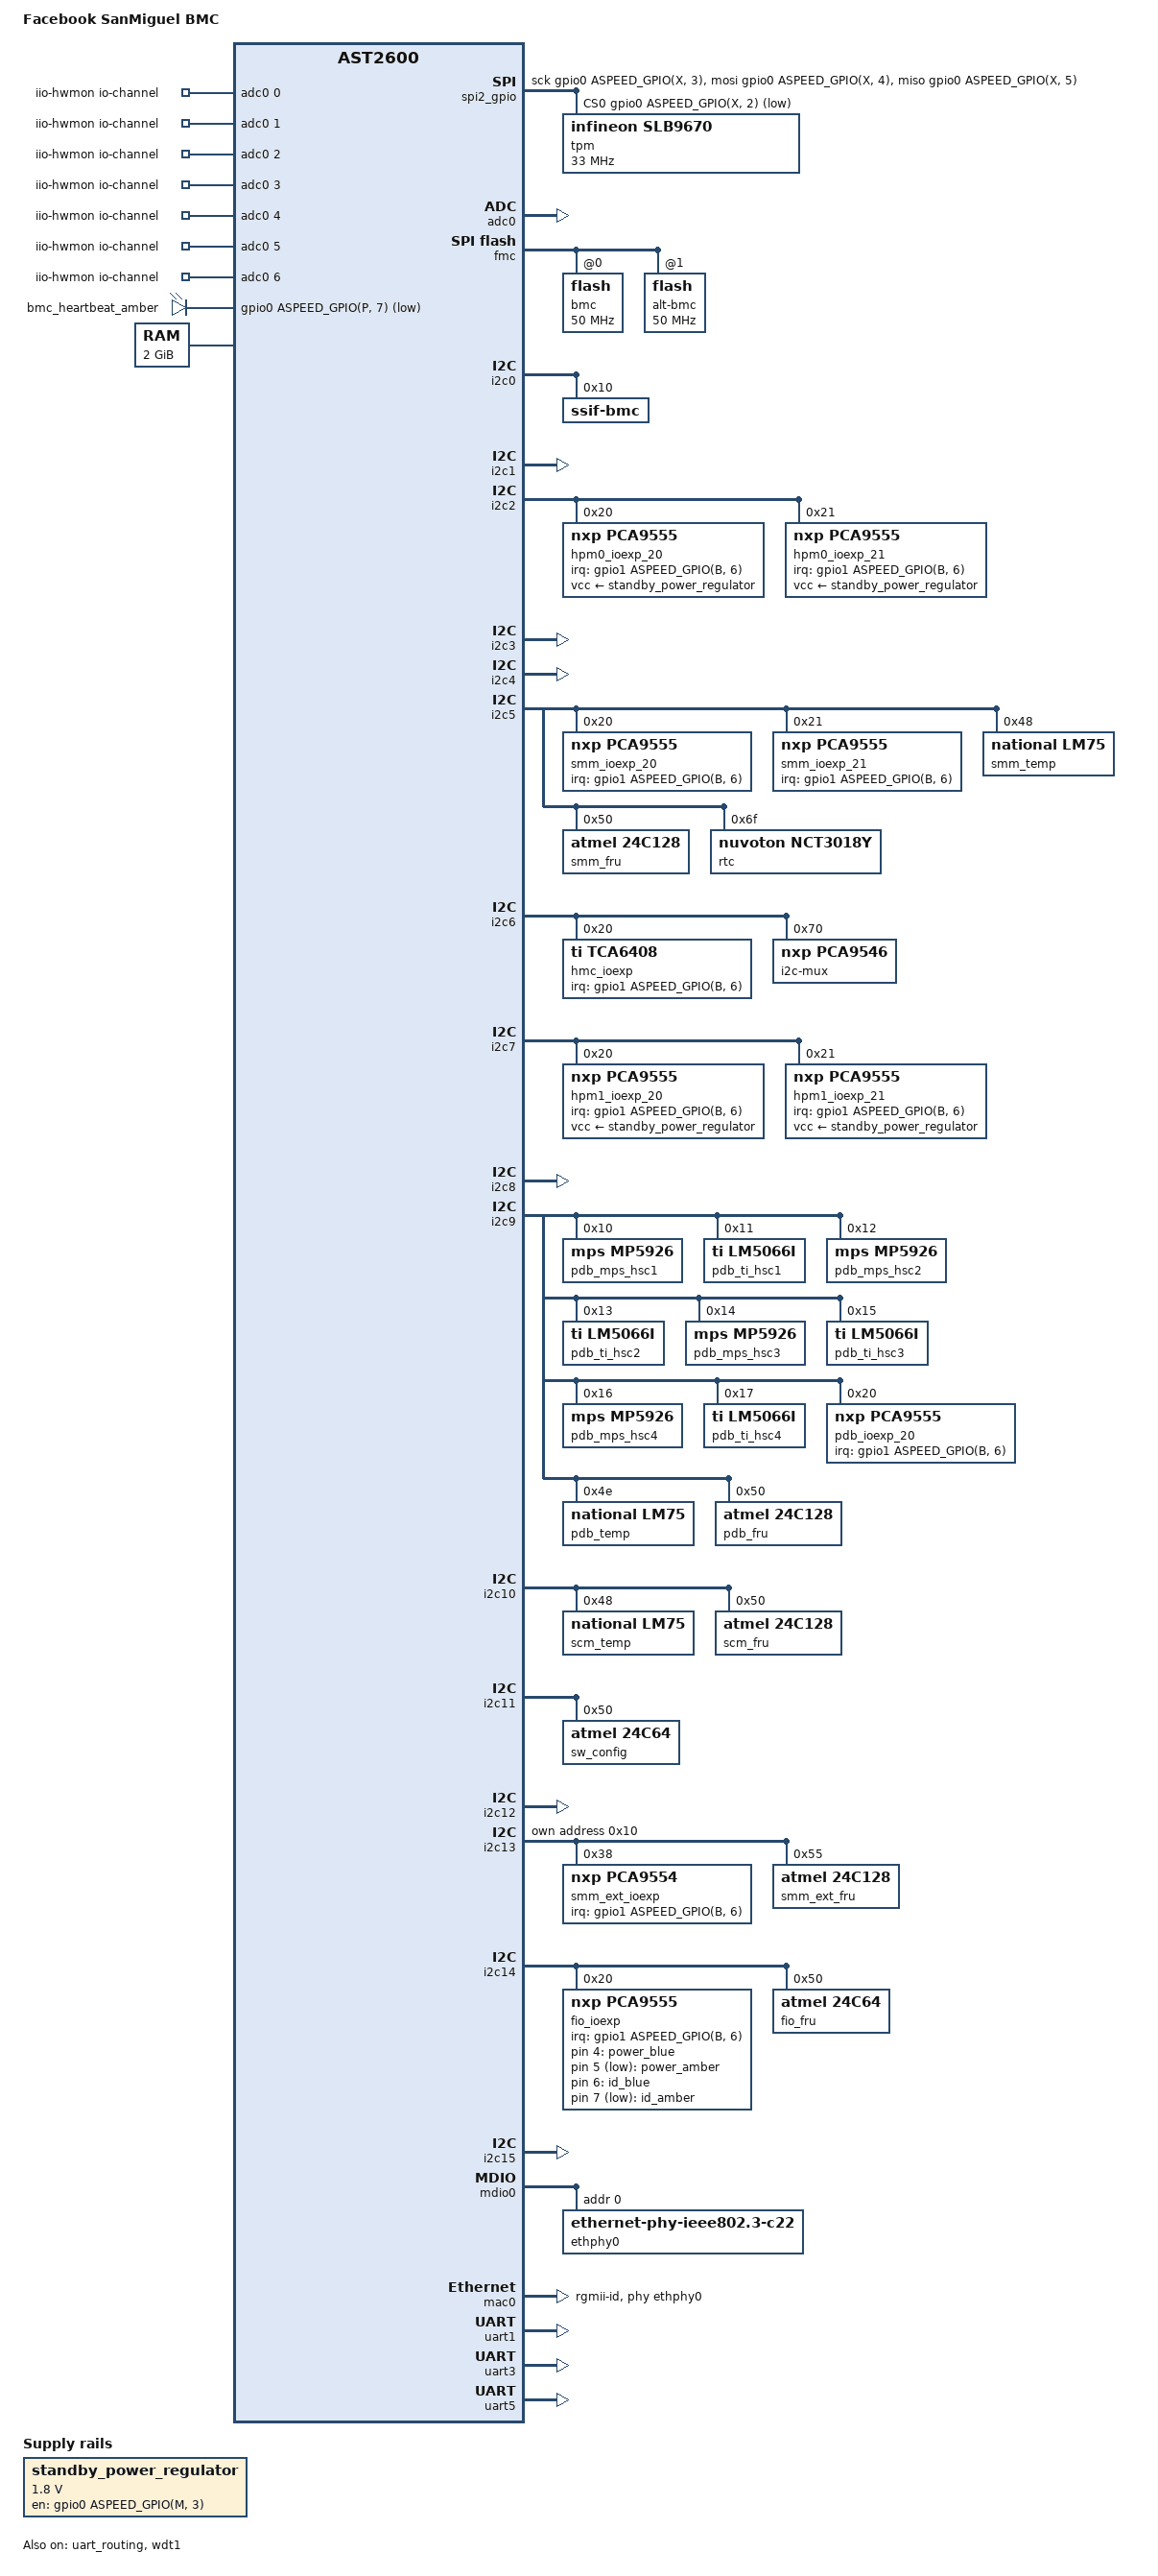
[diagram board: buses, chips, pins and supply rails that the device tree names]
// SPDX-License-Identifier: GPL-2.0+
// Copyright (c) 2025 Facebook Inc.

/dts-v1/;
#include "aspeed-g6.dtsi"
#include <dt-bindings/gpio/aspeed-gpio.h>
#include <dt-bindings/i2c/i2c.h>
#include <dt-bindings/interrupt-controller/irq.h>
#include <dt-bindings/leds/common.h>
#include <dt-bindings/leds/leds-pca955x.h>
#include <dt-bindings/usb/pd.h>

/ {
	model = "Facebook SanMiguel BMC";
	compatible = "facebook,sanmiguel-bmc", "aspeed,ast2600";

	aliases {
		serial0 = &uart1;
		serial1 = &uart2;
		serial2 = &uart3;
		serial3 = &uart4;
		serial4 = &uart5;
		i2c16	= &imux16;
		i2c17	= &imux17;
		i2c18	= &imux18;
		i2c19	= &imux19;
	};

	chosen {
		stdout-path = "serial4:57600n8";
	};

	iio-hwmon {
		compatible = "iio-hwmon";
		io-channels = <&adc0 0>, <&adc0 1>, <&adc0 2>, <&adc0 3>,
			      <&adc0 4>, <&adc0 5>, <&adc0 6>;
	};

	leds-fio {
		compatible = "gpio-leds";
		led-0 {
			label = "power_blue";
			gpios = <&fio_ioexp 4 GPIO_ACTIVE_HIGH>;
		};
		led-1 {
			label = "power_amber";
			gpios = <&fio_ioexp 5 GPIO_ACTIVE_LOW>;
		};
		led-2 {
			label = "id_blue";
			gpios = <&fio_ioexp 6 GPIO_ACTIVE_HIGH>;
		};
		led-3 {
			label = "id_amber";
			gpios = <&fio_ioexp 7 GPIO_ACTIVE_LOW>;
		};
	};

	leds-smm {
		compatible = "gpio-leds";
		led-0 {
			label = "bmc_heartbeat_amber";
			gpios = <&gpio0 ASPEED_GPIO(P, 7) GPIO_ACTIVE_LOW>;
			linux,default-trigger = "heartbeat";
		};
	};

	memory@80000000 {
		device_type = "memory";
		reg = <0x80000000 0x80000000>;
	};

	spi2_gpio: spi {
		compatible = "spi-gpio";
		#address-cells = <1>;
		#size-cells = <0>;

		sck-gpios = <&gpio0 ASPEED_GPIO(X, 3) GPIO_ACTIVE_HIGH>;
		mosi-gpios = <&gpio0 ASPEED_GPIO(X, 4) GPIO_ACTIVE_HIGH>;
		miso-gpios = <&gpio0 ASPEED_GPIO(X, 5) GPIO_ACTIVE_HIGH>;
		cs-gpios = <&gpio0 ASPEED_GPIO(X, 2) GPIO_ACTIVE_LOW>;
		num-chipselects = <1>;

		tpm@0 {
			compatible = "infineon,slb9670", "tcg,tpm_tis-spi";
			spi-max-frequency = <33000000>;
			reg = <0>;
		};
	};

	standby_power_regulator: standby-power-regulator {
		compatible = "regulator-fixed";
		gpio = <&gpio0 ASPEED_GPIO(M, 3) GPIO_ACTIVE_HIGH>;
		regulator-min-microvolt = <1800000>;
		regulator-max-microvolt = <1800000>;
		regulator-name = "standby_power";
		enable-active-high;
		regulator-always-on;
		regulator-boot-on;

		status = "okay";
	};
};

&adc0 {
	pinctrl-names = "default";
	pinctrl-0 = <&pinctrl_adc0_default &pinctrl_adc1_default
		&pinctrl_adc2_default &pinctrl_adc3_default
		&pinctrl_adc4_default &pinctrl_adc5_default
		&pinctrl_adc6_default>;
	aspeed,int-vref-microvolt = <2500000>;

	status = "okay";
};

&fmc {
	status = "okay";

	flash@0 {
		label = "bmc";
		spi-max-frequency = <50000000>;
		m25p,fast-read;

		status = "okay";
#include "openbmc-flash-layout-128.dtsi"
	};

	flash@1 {
		label = "alt-bmc";
		spi-max-frequency = <50000000>;
		m25p,fast-read;

		status = "okay";
#include "openbmc-flash-layout-128-alt.dtsi"
	};
};

&gpio0 {
	pinctrl-names = "default";
	pinctrl-0 = <&pinctrl_gpiom4_unbiased_default
		     &pinctrl_gpiom5_unbiased_default
		     &pinctrl_gpiov4_unbiased_default
		     &pinctrl_gpiov7_unbiased_default>;

	gpio-line-names =
	/*A0-A7*/	"", "", "", "", "", "", "", "",
	/*B0-B7*/	"", "", "", "", "", "", "", "",
	/*C0-C7*/	"", "", "", "", "", "", "", "",
	/*D0-D7*/	"", "", "", "", "", "FPGA_PEX_RST_L", "", "",
	/*E0-E7*/	"RTL8221_PHY_RST_L-O", "RTL8211_PHY_INT_L-I", "", "",
			"", "", "", "MUX_SGPIO_SEL-O",
	/*F0-F7*/	"", "", "", "", "", "", "", "",
	/*G0-G7*/	"", "", "", "", "", "", "", "",
	/*H0-H7*/	"", "", "", "", "", "", "", "",
	/*I0-I7*/	"", "", "", "",
			"", "QSPI2_RST_L-O",
			"GLOBAL_WP_BMC-I", "BMC_DDR4_TEN-O",
	/*J0-J7*/	"", "", "", "", "", "", "", "",
	/*K0-K7*/	"", "", "", "", "", "", "", "",
	/*L0-L7*/	"", "", "", "", "", "", "", "",
	/*M0-M7*/	"USB_HUB_RST_N-O", "BMC_FRU_WP-O",
			"", "HMC_STBY_POWER_EN-O",
			"STBY_POWER_PG-I", "PCIE_EP_RST_L-O", "", "",
	/*N0-N7*/	"", "", "", "", "", "", "", "",
	/*O0-O7*/	"", "", "", "", "", "", "", "",
	/*P0-P7*/	"", "", "", "", "", "", "", "",
	/*Q0-Q7*/	"", "", "", "", "", "", "", "",
	/*R0-R7*/	"", "SP0_AP_INTR_N-I", "", "", "", "", "", "",
	/*S0-S7*/	"", "", "", "", "", "", "", "",
	/*T0-T7*/	"", "", "", "", "", "", "", "",
	/*U0-U7*/	"", "", "", "", "", "", "", "",
	/*V0-V7*/	"", "", "", "", "PCB_TEMP_ALERT-I", "",	"", "",
	/*W0-W7*/	"", "", "", "", "", "", "", "CPU_RST_L-I",
	/*X0-X7*/	"", "", "", "", "", "", "", "",
	/*Y0-Y7*/	"", "", "", "EMMC_RST-O", "", "", "", "",
	/*Z0-Z7*/	"HMC_EROT_SPI_INT_L-I", "", "", "", "", "", "", "";
};

&gpio1 {
	/* 36 1.8V GPIOs */
	gpio-line-names =
	/*A0-A7*/	"", "", "", "", "", "", "", "",
	/*B0-B7*/	"", "", "", "",
			"AP_EROT_REQ-O", "EROT_AP_GNT-I",
			"IO_EXPANDER_INT_L-I", "",
	/*C0-C7*/	"", "", "", "", "", "", "", "",
	/*D0-D7*/	"", "", "", "", "", "", "", "I2C_SSIF_ALERT_L-I",
	/*E0-E7*/	"", "", "", "", "", "", "", "";
};

&i2c0 {
	status = "okay";

	ssif-bmc@10 {
		compatible = "ssif-bmc";
		reg = <0x10>;
	};
};

&i2c1 {
	status = "okay";
};

&i2c2 {
	status = "okay";

	hpm0_ioexp_20: gpio@20 {
		compatible = "nxp,pca9555";
		reg = <0x20>;
		gpio-controller;
		#gpio-cells = <2>;
		interrupt-parent = <&gpio1>;
		interrupts = <ASPEED_GPIO(B, 6) IRQ_TYPE_LEVEL_LOW>;
		vcc-supply = <&standby_power_regulator>;

		gpio-line-names =
			"B0_M0_SHDN_FORCE_L-O",
			"B0_M0_STBY_POWER_PG-I",
			"B0_M0_THERM_OVERT_L-I",
			"B0_M0_THERM_WARN_L-I",
			"B0_M0_GLOBAL_WP-O",
			"B0_M0_USB_HUB0_RST_L-O",
			"B0_M0_PRE_SYS_RST_L-O",
			"B0_M0_LEAK_DETECT_ALERT_L-I",
			"B0_M0_RUN_POWER_EN-O",
			"B0_M0_RUN_POWER_PG-I",
			"B0_M0_CPU_CHIPTHROT_L-I",
			"B0_M0_SHDN_REQ_L-O",
			"B0_M0_CPU_SHDN_OK_L-I",
			"B0_M0_CPLD_READY-I",
			"B0_M0_PWR_BRAKE_L-O",
			"B0_M0_PWR_BRAKE_STATUS_L-I";
	};

	hpm0_ioexp_21: gpio@21 {
		compatible = "nxp,pca9555";
		reg = <0x21>;
		gpio-controller;
		#gpio-cells = <2>;
		interrupt-parent = <&gpio1>;
		interrupts = <ASPEED_GPIO(B, 6) IRQ_TYPE_LEVEL_LOW>;
		vcc-supply = <&standby_power_regulator>;

		gpio-line-names =
			"B0_M0_I2C_BUS_MUX_RESET_L-O",
			"B0_M0_HPM_MCU_OK-I",
			"B0_M0_CPU_L0_RST_IND_L-O",
			"B0_M0_C0_SOCAMM_DAC_SEL0-O",
			"B0_M0_C1_SOCAMM_DAC_SEL1-O",
			"B0_M0_C0_SOCAMM_I2C_SEL_R-O",
			"B0_M0_C1_SOCAMM_I2C_SEL_R-O",
			"B0_M0_EEPROM_POWER_DISABLE-O",
			"B0_M0_L0L1_RST_L-I",
			"B0_M0_L2_RST_L-I",
			"B0_M0_BRD_ID_0-I",
			"B0_M0_BRD_ID_1-I",
			"B0_M0_BMC_LEAK_TEST_L-O",
			"B0_M0_MCU_BMC_ALERT_L-I",
			"B0_M0_CPU_BOOT_COMPLETE_3V3-I",
			"B0_M0_BMC_TO_GPU_MCU_I2C_EN-O";
	};
};

&i2c3 {
	status = "okay";
};

&i2c4 {
	status = "okay";
};

&i2c5 {
	status = "okay";

	smm_ioexp_20: gpio@20 {
		compatible = "nxp,pca9555";
		reg = <0x20>;
		gpio-controller;
		#gpio-cells = <2>;
		interrupt-parent = <&gpio1>;
		interrupts = <ASPEED_GPIO(B, 6) IRQ_TYPE_LEVEL_LOW>;

		gpio-line-names =
			"HMC_RST_R_L-O", "HMC_RECOVERY_R-O",
			"HMC_SPI_MUX_R_SEL-O", "GLOBAL_WP-O",
			"HMC_READY-I", "HMC_PRSNT_R-I",
			"BMC_SELF_PWR_CYCLE-O", "EEDO_LED2-O",
			"PWR_LED_L-O", "PWR_BTN_L-I",
			"UID_LED_L-O", "UID_BTN_L-I",
			"FAULT_LED_L-O", "USB2_HUB_RST_L-O",
			"USB2_BMC_HUB2_RST_L-O", "WARN_LED_L-O";
	};

	smm_ioexp_21: gpio@21 {
		compatible = "nxp,pca9555";
		reg = <0x21>;
		gpio-controller;
		#gpio-cells = <2>;
		interrupt-parent = <&gpio1>;
		interrupts = <ASPEED_GPIO(B, 6) IRQ_TYPE_LEVEL_LOW>;

		gpio-line-names =
			"BMC_HMC_MUX_SEL-O", "BMC_TPM_MUX_SEL-O",
			"BMC_USB2_MUX_SEL-O", "HMC_PGOOD_3V3-I",
			"", "HDR_SPI_PRSNT_L-I",
			"SW_NRESET_R_L-O", "MUX_I2C_ESPI_SEL-O",
			"I2C_BUS_MUX_RESET_L-O", "USB_MUX_EN-O",
			"PDB_TRAY_RST-O", "USB_PWR_EN-O",
			"RTC_CLR_L-O", "I2C_RTC_ALERT_L-I",
			"X86_TPM_RST_SEL_L-O", "BMC_MUX_PI3DP_SEL-O";
	};

	smm_temp: temperature-sensor@48 {
		compatible = "national,lm75";
		reg = <0x48>;
	};

	smm_fru: eeprom@50 {
		compatible = "atmel,24c128";
		reg = <0x50>;
	};

	rtc@6f {
		compatible = "nuvoton,nct3018y";
		reg = <0x6f>;
	};
};

&i2c6 {
	status = "okay";

	hmc_ioexp: gpio@20 {
		compatible = "ti,tca6408";
		reg = <0x20>;
		gpio-controller;
		#gpio-cells = <2>;
		interrupt-parent = <&gpio1>;
		interrupts = <ASPEED_GPIO(B, 6) IRQ_TYPE_LEVEL_LOW>;

		gpio-line-names =
			"", "", "HMC_EROT_FATAL_ERROR_L-I", "",
			"", "HMC_EROT_RECOVERY_L-O", "HMC_EROT_RESET_L-O", "";
	};

	i2c-mux@70 {
		compatible = "nxp,pca9546";
		#address-cells = <1>;
		#size-cells = <0>;
		reg = <0x70>;
		i2c-mux-idle-disconnect;

		imux16: i2c@0 {
			#address-cells = <1>;
			#size-cells = <0>;
			reg = <0>;
		};

		imux17: i2c@1 {
			#address-cells = <1>;
			#size-cells = <0>;
			reg = <1>;
		};

		imux18: i2c@2 {
			#address-cells = <1>;
			#size-cells = <0>;
			reg = <2>;
		};

		imux19: i2c@3 {
			#address-cells = <1>;
			#size-cells = <0>;
			reg = <3>;
		};
	};
};

&i2c7 {
	status = "okay";

	hpm1_ioexp_20: gpio@20 {
		compatible = "nxp,pca9555";
		reg = <0x20>;
		gpio-controller;
		#gpio-cells = <2>;
		interrupt-parent = <&gpio1>;
		interrupts = <ASPEED_GPIO(B, 6) IRQ_TYPE_LEVEL_LOW>;
		vcc-supply = <&standby_power_regulator>;

		gpio-line-names =
			"B1_M0_SHDN_FORCE_L-O",
			"B1_M0_STBY_POWER_PG-I",
			"B1_M0_THERM_OVERT_L-I",
			"B1_M0_THERM_WARN_L-I",
			"B1_M0_GLOBAL_WP-O",
			"B1_M0_USB_HUB0_RST_L-O",
			"B1_M0_PRE_SYS_RST_L-O",
			"B1_M0_LEAK_DETECT_ALERT_L-I",
			"B1_M0_RUN_POWER_EN-O",
			"B1_M0_RUN_POWER_PG-I",
			"B1_M0_CPU_CHIPTHROT_L-I",
			"B1_M0_SHDN_REQ_L-O",
			"B1_M0_CPU_SHDN_OK_L-I",
			"B1_M0_CPLD_READY-I",
			"B1_M0_PWR_BRAKE_L-O",
			"B1_M0_PWR_BRAKE_STATUS_L-I";
	};

	hpm1_ioexp_21: gpio@21 {
		compatible = "nxp,pca9555";
		reg = <0x21>;
		gpio-controller;
		#gpio-cells = <2>;
		interrupt-parent = <&gpio1>;
		interrupts = <ASPEED_GPIO(B, 6) IRQ_TYPE_LEVEL_LOW>;
		vcc-supply = <&standby_power_regulator>;

		gpio-line-names =
			"B1_M0_I2C_BUS_MUX_RESET_L-O",
			"B1_M0_HPM_MCU_OK-I",
			"B1_M0_CPU_L0_RST_IND_L-O",
			"B1_M0_C0_SOCAMM_DAC_SEL0-O",
			"B1_M0_C1_SOCAMM_DAC_SEL1-O",
			"B1_M0_C0_SOCAMM_I2C_SEL_R-O",
			"B1_M0_C1_SOCAMM_I2C_SEL_R-O",
			"B1_M0_EEPROM_POWER_DISABLE-O",
			"B1_M0_L0L1_RST_L-I",
			"B1_M0_L2_RST_L-I",
			"B1_M0_BRD_ID_0-I",
			"B1_M0_BRD_ID_1-I",
			"B1_M0_BMC_LEAK_TEST_L-O",
			"B1_M0_MCU_BMC_ALERT_L-I",
			"B1_M0_CPU_BOOT_COMPLETE_3V3-I",
			"B1_M0_BMC_TO_GPU_MCU_I2C_EN-O";
	};
};

&i2c8 {
	status = "okay";
};

&i2c9 {
	status = "okay";

	pdb_mps_hsc1: power-monitor@10 {
		compatible = "mps,mp5926";
		reg = <0x10>;
	};

	pdb_ti_hsc1: power-monitor@11 {
		compatible = "ti,lm5066i";
		reg = <0x11>;
		shunt-resistor-micro-ohms = <763>;
	};

	pdb_mps_hsc2: power-monitor@12 {
		compatible = "mps,mp5926";
		reg = <0x12>;
	};

	pdb_ti_hsc2: power-monitor@13 {
		compatible = "ti,lm5066i";
		reg = <0x13>;
		shunt-resistor-micro-ohms = <294>;
	};

	pdb_mps_hsc3: power-monitor@14 {
		compatible = "mps,mp5926";
		reg = <0x14>;
	};

	pdb_ti_hsc3: power-monitor@15 {
		compatible = "ti,lm5066i";
		reg = <0x15>;
		shunt-resistor-micro-ohms = <294>;
	};

	pdb_mps_hsc4: power-monitor@16 {
		compatible = "mps,mp5926";
		reg = <0x16>;
	};

	pdb_ti_hsc4: power-monitor@17 {
		compatible = "ti,lm5066i";
		reg = <0x17>;
		shunt-resistor-micro-ohms = <381>;
	};

	pdb_ioexp_20: gpio@20 {
		compatible = "nxp,pca9555";
		reg = <0x20>;
		gpio-controller;
		#gpio-cells = <2>;
		interrupt-parent = <&gpio1>;
		interrupts = <ASPEED_GPIO(B, 6) IRQ_TYPE_LEVEL_LOW>;

		gpio-line-names =
			"PDB_STRAP-I", "STBY_POWER_EN-O", "STBY_PWR_OK-I", "",
			"", "MAIN_PWR_EN-O", "MAIN_PWR_OK-I", "GLOBAL_WP-O",
			"PDB_PWR_BRK_L-I", "FAN_PRSNT-I", "", "",
			"HSC4_S5_OR_S0_N-O", "", "", "";
	};

	pdb_temp: temperature-sensor@4e {
		compatible = "national,lm75";
		reg = <0x4e>;
	};

	pdb_fru: eeprom@50 {
		compatible = "atmel,24c128";
		reg = <0x50>;
	};
};

&i2c10 {
	status = "okay";

	scm_temp: temperature-sensor@48 {
		compatible = "national,lm75";
		reg = <0x48>;
	};

	scm_fru: eeprom@50 {
		compatible = "atmel,24c128";
		reg = <0x50>;
	};
};

&i2c11 {
	status = "okay";

	sw_config: eeprom@50 {
		compatible = "atmel,24c64";
		reg = <0x50>;
	};
};

&i2c12 {
	status = "okay";
};

&i2c13 {
	status = "okay";
	mctp-controller;
	multi-master;

	mctp@10 {
		compatible = "mctp-i2c-controller";
		reg = <(0x10 | I2C_OWN_SLAVE_ADDRESS)>;
	};

	smm_ext_ioexp: gpio@38 {
		compatible = "nxp,pca9554";
		reg = <0x38>;
		gpio-controller;
		#gpio-cells = <2>;
		interrupt-parent = <&gpio1>;
		interrupts = <ASPEED_GPIO(B, 6) IRQ_TYPE_LEVEL_LOW>;

		gpio-line-names =
			"SSD0_PRSNT_L-I", "E1S_PWR_EN-O",
			"SSD0_PWRDIS-O", "I2C_PDB_ALERT_L-I",
			"BMC_SSD0_RST_L-O", "GLOBAL_WP_E1S-O",
			"12V_SSD0_PGD-I", "SSD0_LED-O";
	};

	smm_ext_fru: eeprom@55 {
		compatible = "atmel,24c128";
		reg = <0x55>;
	};
};

&i2c14 {
	status = "okay";

	fio_ioexp: gpio@20 {
		compatible = "nxp,pca9555";
		reg = <0x20>;
		gpio-controller;
		#gpio-cells = <2>;
		interrupt-parent = <&gpio1>;
		interrupts = <ASPEED_GPIO(B, 6) IRQ_TYPE_LEVEL_LOW>;

		gpio-line-names =
			"", "", "", "",
			"PWR_LED_BLUE", "PWR_LED_AMBER_R_N",
			"BEEP_ID_LED_BLUE", "BEEP_ID_LED_AMBER_R_N",
			"", "", "", "",
			"FM_MAIN_PWREN_RMC_ISO_EN_N", "LEAK_DETECT_RMC_N",
			"PWRGD_RMC_N", "SMALL_LEAK_RMC_N";

		pwrgd-rmc-hog {
			gpio-hog;
			gpios = <14 GPIO_ACTIVE_LOW>;
			output-low;
		};
	};

	fio_fru: eeprom@50 {
		compatible = "atmel,24c64";
		reg = <0x50>;
	};
};

&i2c15 {
	status = "okay";
};

&mdio0 {
	status = "okay";

	ethphy0: ethernet-phy@0 {
		compatible = "ethernet-phy-ieee802.3-c22";
		reg = <0>;
	};
};

&mac0 {
	pinctrl-names = "default";
	phy-mode = "rgmii-id";
	phy-handle = <&ethphy0>;
	pinctrl-0 = <&pinctrl_rgmii1_default>;

	status = "okay";
};

&pinctrl {
	pinctrl_gpiom4_unbiased_default: gpiom4 {
		pins = "B12";
		bias-disable;
	};
	pinctrl_gpiom5_unbiased_default: gpiom5 {
		pins = "C12";
		bias-disable;
	};
	pinctrl_gpiov4_unbiased_default: gpiov4 {
		pins = "AE15";
		bias-disable;
	};
	pinctrl_gpiov7_unbiased_default: gpiov7 {
		pins = "AF15";
		bias-disable;
	};
};

&uart1 {
	status = "okay";
};

&uart3 {
	status = "okay";
};

&uart5 {
	status = "okay";
};

&uart_routing {
	status = "okay";
};

&wdt1 {
	pinctrl-names = "default";
	pinctrl-0 = <&pinctrl_wdtrst1_default>;
	aspeed,reset-type = "soc";
	aspeed,external-signal;
	aspeed,ext-push-pull;
	aspeed,ext-active-high;
	aspeed,ext-pulse-duration = <256>;

	status = "okay";
};
